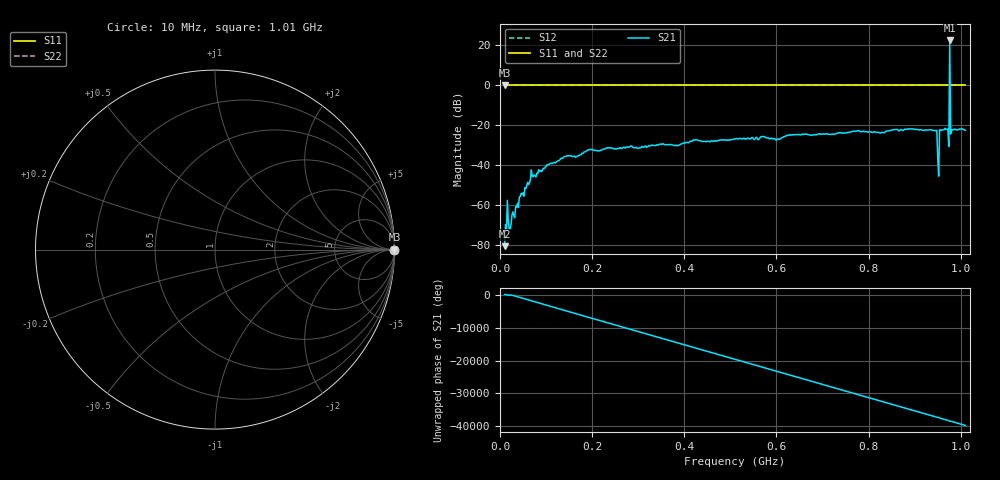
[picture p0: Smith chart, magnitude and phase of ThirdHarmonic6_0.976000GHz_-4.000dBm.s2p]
! 8/16/2025 7:28:50 AM
! C:\ANRITSUVNA\TEMP\TEMP.S2P
! CHANNEL.1
! TR.MEASUREMENT
! RAW.DATA
! RF.CORRECTION.OFF
! AVERAGING.OFF
! IF.BANDWIDTH: 5KHZ
! SWEEPTYPE:  FREQ.SWEEP(Linear)
! Reference Plane Port Info
! PORT:  PORT1  PORT2
! DISTANCE:  0  m  0  m
! TIME:  0  s  0  s
! PHASE.OFFSET:  0  deg.  0  deg.
! LOSS:  0  dB  0  dB
! REF.LOSS:  0  dB  0  dB
! REF.FREQ:  0  Hz  0  Hz
! Power Info
! POWER:  -20  dBm  -20  dBm
! EFF.POWER:  -20  dBm  -20  dBm
! SOURCE.ATTEN:  0  dB  0  dB
! TEST.ATTEN:  0  dB  0  dB
# GHZ S RI R 50.0
! FREQ.GHZ  S11RE  S11IM  S21RE  S21IM  S12RE  S12IM  S22RE  S22IM
!; PortSelection: Port_12
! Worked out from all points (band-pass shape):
!   501 points, 10 MHz to 1.01 GHz, reference 50 ohm
!   highest |S21| = 22.41 dB at 976 MHz (marker M1); lowest = -80.7 dB at 10 MHz (marker M2)
!   |S21| within 3 dB of the highest: 975.8871 MHz to 976.128 MHz (240.9 kHz wide, 0.0247 % of centre)
!   lowest |S11| = 0.0 dB at 10 MHz (marker M3)
!   |S11| at or under -10 dB: nowhere
!   |S22| runs from 0.0 to 0.0 dB; largest |S21 - S12| = 13
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0.01  1 0  5.74e-05 7.23e-05  1 0  1 0
0.012  1 0  0.000213 0.000244  1 0  1 0
0.016  1 0  -7.12e-05 -0.0013  1 0  1 0
0.022  1 0  0.000168 -0.000177  1 0  1 0
0.046  1 0  -0.00184 0.000645  1 0  1 0
0.07  1 0  -0.00181 -0.00496  1 0  1 0
0.142  1 0  -0.0148 -0.00688  1 0  1 0
0.178  1 0  -0.019 -0.00543  1 0  1 0
0.344  1 0  0.0313 -0.00396  1 0  1 0
0.51  1 0  -0.044 0.0109  1 0  1 0
0.678  1 0  -0.0157 -0.0534  1 0  1 0
0.844  1 0  0.0369 0.0623  1 0  1 0
0.944  1 0  0.0716 -0.0168  1 0  1 0
0.948  1 0  -0.0727 -0.0128  1 0  1 0
0.954  1 0  0.045 -0.0618  1 0  1 0
0.958  1 0  -0.0624 0.0418  1 0  1 0
0.97  1 0  0.0712 0.0322  1 0  1 0
0.972  1 0  0.0426 -0.0664  1 0  1 0
0.976  1 0  2.336 12.98  1 0  1 0
0.98  1 0  0.0714 -0.0278  1 0  1 0
0.982  1 0  -0.0146 -0.0742  1 0  1 0
1.01  1 0  -0.0639 -0.0371  1 0  1 0
